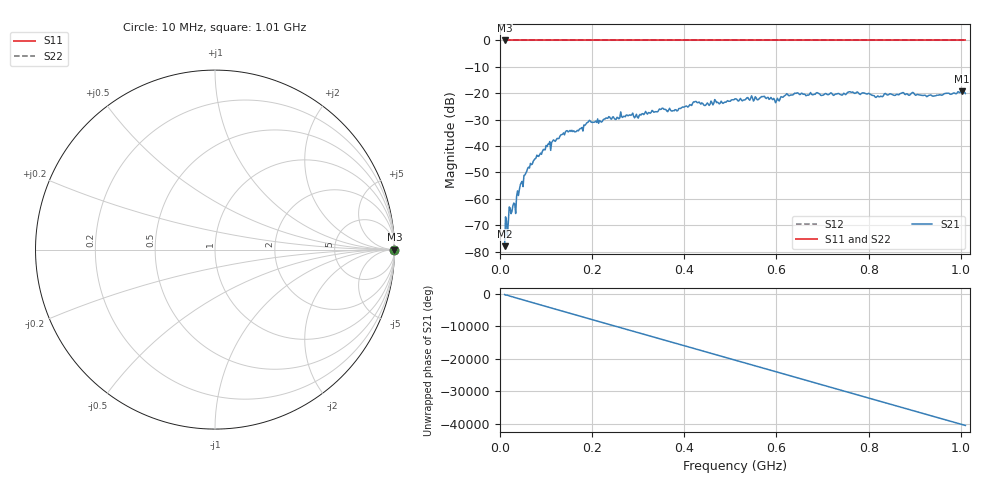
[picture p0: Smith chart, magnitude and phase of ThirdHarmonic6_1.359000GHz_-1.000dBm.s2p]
! 8/16/2025 3:20:29 PM
! C:\ANRITSUVNA\TEMP\TEMP.S2P
! CHANNEL.1
! TR.MEASUREMENT
! RAW.DATA
! RF.CORRECTION.OFF
! AVERAGING.OFF
! IF.BANDWIDTH: 5KHZ
! SWEEPTYPE:  FREQ.SWEEP(Linear)
! Reference Plane Port Info
! PORT:  PORT1  PORT2
! DISTANCE:  0  m  0  m
! TIME:  0  s  0  s
! PHASE.OFFSET:  0  deg.  0  deg.
! LOSS:  0  dB  0  dB
! REF.LOSS:  0  dB  0  dB
! REF.FREQ:  0  Hz  0  Hz
! Power Info
! POWER:  -20  dBm  -20  dBm
! EFF.POWER:  -20  dBm  -20  dBm
! SOURCE.ATTEN:  0  dB  0  dB
! TEST.ATTEN:  0  dB  0  dB
# GHZ S RI R 50.0
! FREQ.GHZ  S11RE  S11IM  S21RE  S21IM  S12RE  S12IM  S22RE  S22IM
!; PortSelection: Port_12
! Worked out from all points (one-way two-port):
!   501 points, 10 MHz to 1.01 GHz, reference 50 ohm
!   highest |S21| = -19.25 dB at 1.002 GHz (marker M1); lowest = -77.9 dB at 10 MHz (marker M2)
!   lowest |S11| = 0.0 dB at 10 MHz (marker M3)
!   |S11| at or under -10 dB: nowhere
!   |S22| runs from 0.0 to 0.0 dB; largest |S21 - S12| = 1.1
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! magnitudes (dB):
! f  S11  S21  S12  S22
! 10 MHz  0.0  -77.9  0.0  0.0
! 16 MHz  0.0  -73.9  0.0  0.0
! 24 MHz  0.0  -65.6  0.0  0.0
! 30 MHz  0.0  -61.6  0.0  0.0
! 42 MHz  0.0  -56.5  0.0  0.0
! 64 MHz  0.0  -48.3  0.0  0.0
! 104 MHz  0.0  -39.2  0.0  0.0
! 146 MHz  0.0  -34.2  0.0  0.0
! 178 MHz  0.0  -33.0  0.0  0.0
! 192 MHz  0.0  -30.7  0.0  0.0
! 344 MHz  0.0  -26.5  0.0  0.0
! 382 MHz  0.0  -26.3  0.0  0.0
! 422 MHz  0.0  -23.3  0.0  0.0
! 444 MHz  0.0  -24.6  0.0  0.0
! 510 MHz  0.0  -22.1  0.0  0.0
! 570 MHz  0.0  -21.3  0.0  0.0
! 602 MHz  0.0  -21.9  0.0  0.0
! 620 MHz  0.0  -20.7  0.0  0.0
! 678 MHz  0.0  -20.5  0.0  0.0
! 844 MHz  0.0  -20.5  0.0  0.0
! 1.002 GHz  0.0  -19.2  0.0  0.0
! 1.01 GHz  0.0  -20.1  0.0  0.0
